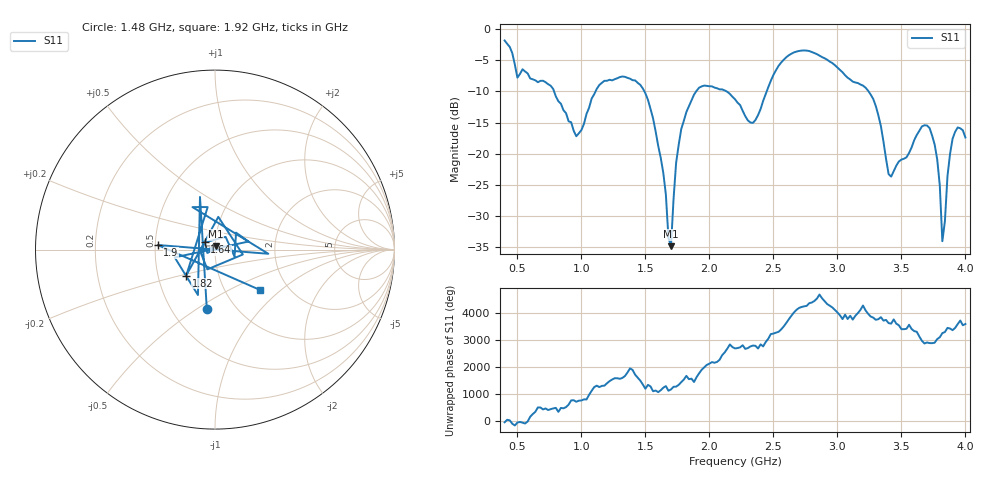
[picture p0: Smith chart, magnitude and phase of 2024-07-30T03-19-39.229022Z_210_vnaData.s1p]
!Created with skrf (http://scikit-rf.org).
# Hz S RI R 50.0
!freq ReS11 ImS11
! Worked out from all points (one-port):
!   181 points, 400 MHz to 4 GHz, reference 50 ohm
!   lowest |S11| = -34.9 dB at 1.7 GHz (marker M1), VSWR 1.04, Z = 50.3 + j1.79 ohm
!   |S11| at or under -10 dB: 786.6 MHz to 1.11 GHz (323.9 MHz wide, 34.1 % of centre); 1.492 GHz to 1.896 GHz (404.3 MHz wide, 23.9 % of centre); 3.243 GHz to end of sweep (the widest 3 of 4)
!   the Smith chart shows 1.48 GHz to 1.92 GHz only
!   S11 on the Smith chart (normalised r, x): 1.48 GHz: 0.74, -0.55; 1.64 GHz: 0.89, +0.07; 1.82 GHz: 0.70, -0.21; 1.9 GHz: 0.52, +0.03; 1.92 GHz: 1.45, -0.74
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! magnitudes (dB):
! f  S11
! 400 MHz  -1.8
! 500 MHz  -7.8
! 760 MHz  -9.1
! 860 MHz  -13.0
! 960 MHz  -17.2
! 1.14 GHz  -9.0
! 1.3 GHz  -7.7
! 1.48 GHz  -9.5
! 1.64 GHz  -23.1
! 1.68 GHz  -33.5
! 1.7 GHz  -34.9
! 1.74 GHz  -21.5
! 1.76 GHz  -18.6
! 1.82 GHz  -13.3
! 1.9 GHz  -9.9
! 1.92 GHz  -9.4
! 2.2 GHz  -11.3
! 2.34 GHz  -15.1
! 2.66 GHz  -3.7
! 3.1 GHz  -8.1
! 3.28 GHz  -11.2
! 3.4 GHz  -23.3
! 3.56 GHz  -19.9
! 3.72 GHz  -15.9
! 3.78 GHz  -21.0
! 3.82 GHz  -34.1
! 3.9 GHz  -17.6
! 4 GHz  -17.4
